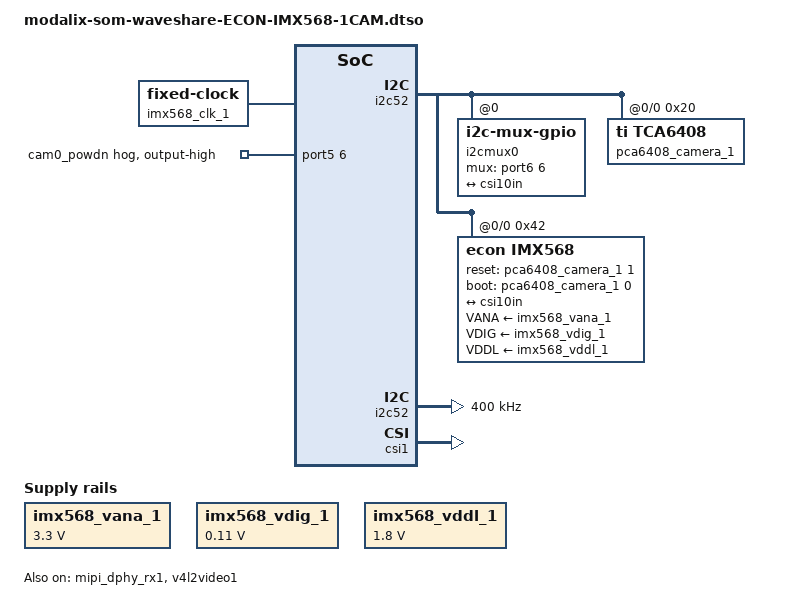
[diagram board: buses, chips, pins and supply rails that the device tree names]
// SPDX-License-Identifier: (GPL-2.0+ OR MIT)
/*
 * Copyright (c) 2026 SiMa ai
 */

/dts-v1/;
/plugin/;

&{/} {
    imx568_vana_1: csi1_fixedregulator@0 {
        compatible = "regulator-fixed";
        regulator-name = "imx568_vana_1";
        regulator-min-microvolt = <3300000>;
        regulator-max-microvolt = <3300000>;
        enable-active-high;
        startup-delay-us = <300000>;
        regulator-always-on;
    };

    imx568_vdig_1: csi1_fixedregulator@1 {
        compatible = "regulator-fixed";
        regulator-name = "imx568_vdig_1";
        regulator-min-microvolt = <110000>;
        regulator-max-microvolt = <110000>;
        regulator-always-on;
    };

    imx568_vddl_1: csi1_fixedregulator@2 {
        compatible = "regulator-fixed";
        regulator-name = "imx568_vddl_1";
        regulator-min-microvolt = <1800000>;
        regulator-max-microvolt = <1800000>;
        regulator-always-on;
    };

    imx568_clk_1: csi1_camera-clk {
        compatible = "fixed-clock";
        #clock-cells = <0>;
        clock-frequency = <37125000>;
    };

    i2cmux0: i2cmux@0 {
        compatible = "i2c-mux-gpio";
        i2c-parent = <&i2c52>;
        #address-cells = <1>;
        #size-cells = <0>;
        /* Set port6 gpio6 to GPIO_ACTIVE_LOW mode */
        mux-gpios = <&port6 6 0>;
        i2cmux0p0: i2c@0 {
            reg = <0>;
            #address-cells = <1>;
            #size-cells = <0>;
        };
    };
};

&port5 {
    cam-hog0 {
        gpio-hog;
        /* Set port5 gpio6 to GPIO_ACTIVE_HIGH mode */
        gpios = <6 0>;
        output-high;
        line-name = "cam0_powdn";
    };
};

&i2c52 {
    status = "okay";
    clock-frequency = <400000>;
    #address-cells = <1>;
    #size-cells = <0>;
};

&csi1 {
    status = "okay";

    /*
     * IPI blanking timings (v4l2_bt_timings) consumed by the CSI controller.
     * Porch/sync values are in pixels (horizontal) or lines (vertical).
     * pixelclock is the MIPI clock in Hz, used as the reference for
     * converting the horizontal blanking intervals to ns. The active
     * resolution is not set here; it comes from the V4L2 format (set_fmt).
     */
    simaai,bt-pixelclock = /bits/ 64 <500000000>;
    simaai,bt-hsync = <2>;
    simaai,bt-hbackporch = <100>;
    simaai,bt-hfrontporch = <1548>;
    simaai,bt-vsync = <1>;
    simaai,bt-vbackporch = <68>;
    simaai,bt-vfrontporch = <1>;

    /* Defaults for the IPI custom V4L2 controls (0 = disabled) */
    simaai,ipi-controller-mode = <1>;
    simaai,ipi-emb-data-enable = <0>;
};

&axi_vdma1 {
    status = "okay";
};

&mipi_dphy_rx1 {
    status = "okay";
};

&v4l2video1 {
    status = "okay";
};

&v4l2vdma1 {
    status = "okay";
};

&csi10in {
    clock-lanes = <0>;
    data-lanes = <1 2>;
    link-frequencies = /bits/ 64 <594000000>;
    remote-endpoint = <&cam10out>;
    clock-continuous;
};

&i2cmux0p0 {
    pca6408_camera_1: pca6408@20 {
		compatible = "ti,tca6408";
		gpio-controller;
		#gpio-cells = <2>;
		reg = <0x20>;
		status = "okay";
	};

    imx568: imx568@42 {
        compatible = "econ,imx568";
        reg = <0x42>;
        clocks = <&imx568_clk_1>;
        clock-names = "xclk";
        VANA-supply = <&imx568_vana_1>;
        VDIG-supply = <&imx568_vdig_1>;
        VDDL-supply = <&imx568_vddl_1>;
		reset-gpios = <&pca6408_camera_1 1 0>;
		boot-gpios  = <&pca6408_camera_1 0 0>;
        camera_mipi_lanes = <2>;
        cam_fw_name = "imx568_cam_fw.bin";

        /* Exposure window limits in microseconds (min 300 us, max 18 ms) */
        simaai,manual_exposure_min = <300>;
        simaai,manual_exposure_max = <18000>;

        port@1 {
            cam10out: endpoint@0 {
                clock-lanes = <0>;
                data-lanes = <1 2>;
                link-frequencies = /bits/ 64 <594000000>;
                remote-endpoint = <&csi10in>;
                clock-continuous;
            };
        };
    };
};
